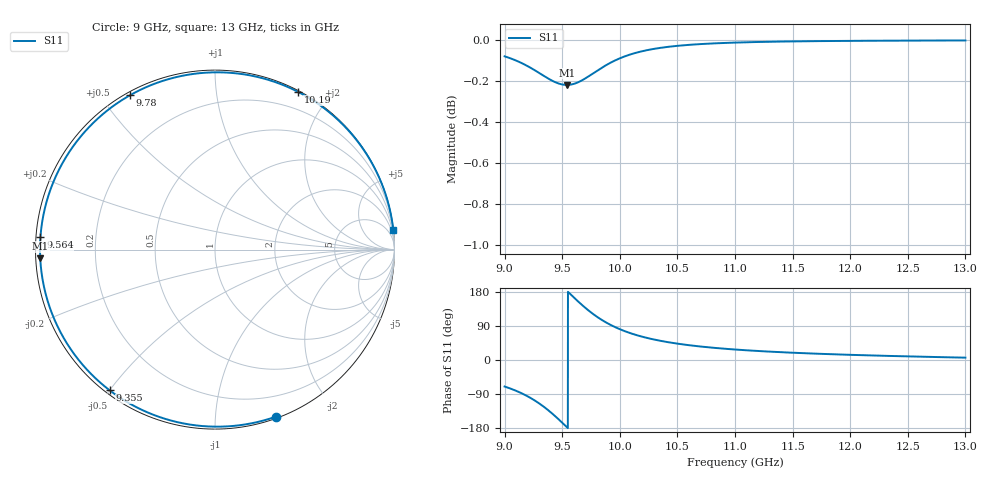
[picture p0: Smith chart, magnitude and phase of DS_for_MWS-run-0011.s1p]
! TOUCHSTONE file generated by CST DESIGN STUDIO
! Date and time: Tue Feb  4 14:24:19 2025
! Project name: C:\Work\MatlabApps\UnitCellOptimizationMatlab\CST\unitcell.cst
! Tree item: Tasks\Sweep1\SPara1\S-Parameters
! Header version: 2024
! Port assignment regex: !\s*Touchstone port\s*([0-9]+)\s*=\s*(CST MWS port|CST DES external port|CST DES block port)\s*(.+)\s* \(\"(.*)\"\)(\s*mode\s*([0-9]+))?.*
! Touchstone port assignment:
! Touchstone port 1 = CST DES external port 1 ("")
# GHz S MA R 50
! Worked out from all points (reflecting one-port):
!   4001 points, 9 GHz to 13 GHz, reference 50 ohm
!   lowest |S11| = -0.2 dB at 9.54 GHz (marker M1), VSWR 78.77, Z = 0.635 - j1.26 ohm
!   phase of S11 starts at -70 deg and turns -284 deg over the sweep
!   S11 on the Smith chart (normalised r, x): 9 GHz: 0.01, -1.43; 9.355 GHz: 0.01, -0.50; 9.564 GHz: 0.01, +0.04; 9.78 GHz: 0.01, +0.59; 10.19 GHz: 0.01, +1.66; 13 GHz: 0, +18
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9  0.9907 -70.0
9.101  0.9883 -81.5
9.21  0.9849 -97.5
9.286  0.982 -111.6
9.355  0.9793 -126.8
9.424  0.9769 -144.2
9.464  0.9758 -155.2
9.5  0.9752 -165.4
9.54  0.9749 -177.1
9.564  0.975 175.8
9.619  0.9759 159.9
9.679  0.9777 143.3
9.729  0.9796 130.6
9.78  0.9818 118.8
9.827  0.9837 109.0
9.878  0.9857 99.6
9.935  0.9876 90.3
10  0.9896 81.3
10.089  0.9917 71.1
10.186  0.9934 62.2
10.33  0.9952 52.0
10.5  0.9965 43.2
10.721  0.9975 34.9
11  0.9983 27.7
11.5  0.999 19.2
12  0.9993 13.6
12.5  0.9994 9.5
13  0.9995 6.2
